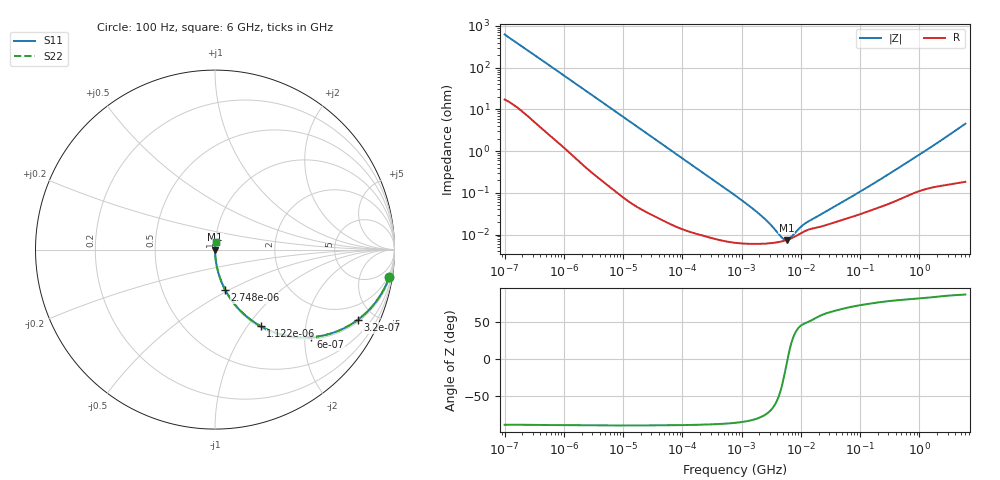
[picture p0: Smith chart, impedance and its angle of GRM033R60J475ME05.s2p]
!Murata Part Number: GRM033R60J475ME05
!These Parameters are Measured in Series Mode Connection
!Data Generated on Mar 30, 2021
!  o--ll--o
!Port1  Port2
!  o------o
!Operation Temp=25[degC], DC Bias Voltage=0[V]
!Freq. Start=100[Hz] Stop=6[GHz] 401[Steps]
# Hz S RI R 50
!Freq.(Hz) S11(Real) S11(Imag) S21(Real) S21(Imag) S12(Real) S12(Imag) S22(Real) S22(Imag)
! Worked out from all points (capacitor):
!   401 points, 100 Hz to 6 GHz, reference 50 ohm
!   read as one part in series: C = 2.53 uF near 109 Hz
!   lowest |Z| = 7.41 mohm at 5.809 MHz (marker M1)
!   series resonance near 5.96 MHz, so ESL is about 280 pH
!   S11 on the Smith chart (normalised r, x): 100 Hz: 1, -12; 320 Hz: 1.10, -4.00; 600 Hz: 1.05, -2.15; 1.122 kHz: 1.02, -1.16; 2.748 kHz: 1.01, -0.48; 6 GHz: 1.00, +0.09
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100  0.9709 -0.155  0.0291 0.155  0.0291 0.155  0.9709 -0.155
196  0.9066 -0.2773  0.0934 0.2773  0.0934 0.2773  0.9066 -0.2773
320  0.794 -0.3923  0.206 0.3923  0.206 0.3923  0.794 -0.3923
458  0.6602 -0.4626  0.3398 0.4626  0.3398 0.4626  0.6602 -0.4626
600  0.5364 -0.4882  0.4636 0.4882  0.4636 0.4882  0.5364 -0.4882
820  0.3869 -0.4773  0.6131 0.4773  0.6131 0.4773  0.3869 -0.4773
1122  0.2557 -0.4273  0.7443 0.4273  0.7443 0.4273  0.2557 -0.4273
2008  0.0996 -0.2921  0.9004 0.2921  0.9004 0.2921  0.0996 -0.2921
2748  0.0568 -0.2245  0.9432 0.2245  0.9432 0.2245  0.0568 -0.2245
4702  0.0209 -0.1369  0.9791 0.1369  0.9791 0.1369  0.0209 -0.1369
8416  0.00706 -0.078  0.9929 0.078  0.9929 0.078  0.00706 -0.078
40335  0.000515 -0.0165  0.9995 0.0165  0.9995 0.0165  0.000515 -0.0165
774597  6.4e-05 -0.000867  0.9999 0.000867  0.9999 0.000867  6.4e-05 -0.000867
2074311  5.98e-05 -0.000289  0.9999 0.000289  0.9999 0.000289  5.98e-05 -0.000289
4246196  6.59e-05 -7.81e-05  0.9999 7.81e-05  0.9999 7.81e-05  6.59e-05 -7.81e-05
4643984  6.77e-05 -5.68e-05  0.9999 5.68e-05  0.9999 5.68e-05  6.77e-05 -5.68e-05
5809218  7.39e-05 -5.6e-06  0.9999 5.6e-06  0.9999 5.6e-06  7.39e-05 -5.6e-06
7599586  8.63e-05 5.29e-05  0.9999 -5.29e-05  0.9999 -5.29e-05  8.63e-05 5.29e-05
1.087309e7  0.000114 0.000124  0.9999 -0.000124  0.9999 -0.000124  0.000114 0.000124
1.555665e7  0.000139 0.000186  0.9999 -0.000186  0.9999 -0.000186  0.000139 0.000186
3.124326e8  0.000558 0.00281  0.9994 -0.00281  0.9994 -0.00281  0.000558 0.00281
6e9  0.00386 0.045  0.9961 -0.045  0.9961 -0.045  0.00386 0.045
